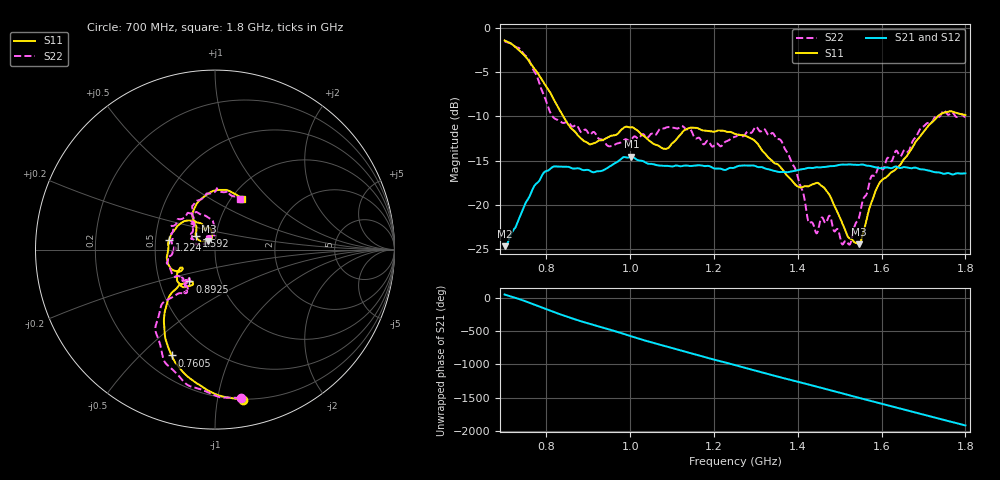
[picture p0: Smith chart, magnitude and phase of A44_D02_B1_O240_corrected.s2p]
! Created with skrf 1.9.0 (http://scikit-rf.org).
# Hz S RI R 50.0
!freq ReS11 ImS11 ReS21 ImS21 ReS12 ImS12 ReS22 ImS22
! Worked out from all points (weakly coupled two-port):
!   1601 points, 700 MHz to 1.8 GHz, reference 50 ohm
!   highest |S21| = -14.56 dB at 1.002 GHz (marker M1); lowest = -24.7 dB at 700.7 MHz (marker M2)
!   lowest |S11| = -24.5 dB at 1.546 GHz (marker M3), VSWR 1.13, Z = 46.3 + j4.4 ohm
!   |S11| at or under -10 dB: 839.9 MHz to 1.734 GHz (894.1 MHz wide, 69.5 % of centre)
!   |S22| runs from -24.5 to -1.5 dB; largest |S21 - S12| = 0.0034
!   S11 on the Smith chart (normalised r, x): 700 MHz: 0.20, -1.19; 760.5 MHz: 0.31, -0.62; 892.5 MHz: 0.71, -0.27; 1.224 GHz: 0.59, +0.07; 1.592 GHz: 0.80, +0.12; 1.8 GHz: 1.12, +0.71
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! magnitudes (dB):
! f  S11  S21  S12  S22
! 700 MHz  -1.4  -24.7  -24.5  -1.5
! 700.7 MHz  -1.4  -24.7  -24.4  -1.5
! 760.5 MHz  -3.9  -18.9  -18.8  -3.8
! 814.1 MHz  -7.8  -15.7  -15.8  -10.0
! 883.6 MHz  -12.5  -16.0  -15.9  -11.8
! 892.5 MHz  -12.9  -16.1  -16.1  -11.5
! 949.6 MHz  -12.3  -15.7  -15.7  -13.4
! 1.002 GHz  -11.2  -14.6  -14.7  -12.6
! 1.067 GHz  -13.3  -15.5  -15.5  -11.6
! 1.142 GHz  -11.3  -15.6  -15.6  -11.4
! 1.224 GHz  -11.6  -16.0  -16.0  -13.0
! 1.25 GHz  -12.0  -15.8  -15.7  -12.3
! 1.3 GHz  -12.9  -15.6  -15.6  -11.2
! 1.359 GHz  -15.7  -16.3  -16.3  -12.6
! 1.434 GHz  -17.7  -15.8  -15.8  -22.0
! 1.476 GHz  -18.9  -15.6  -15.7  -21.2
! 1.522 GHz  -23.7  -15.4  -15.4  -24.5
! 1.546 GHz  -24.5  -15.5  -15.4  -21.5
! 1.592 GHz  -17.8  -15.8  -15.8  -15.8
! 1.617 GHz  -16.6  -15.8  -15.8  -14.7
! 1.737 GHz  -9.9  -16.3  -16.4  -10.1
! 1.8 GHz  -9.9  -16.4  -16.4  -10.0
